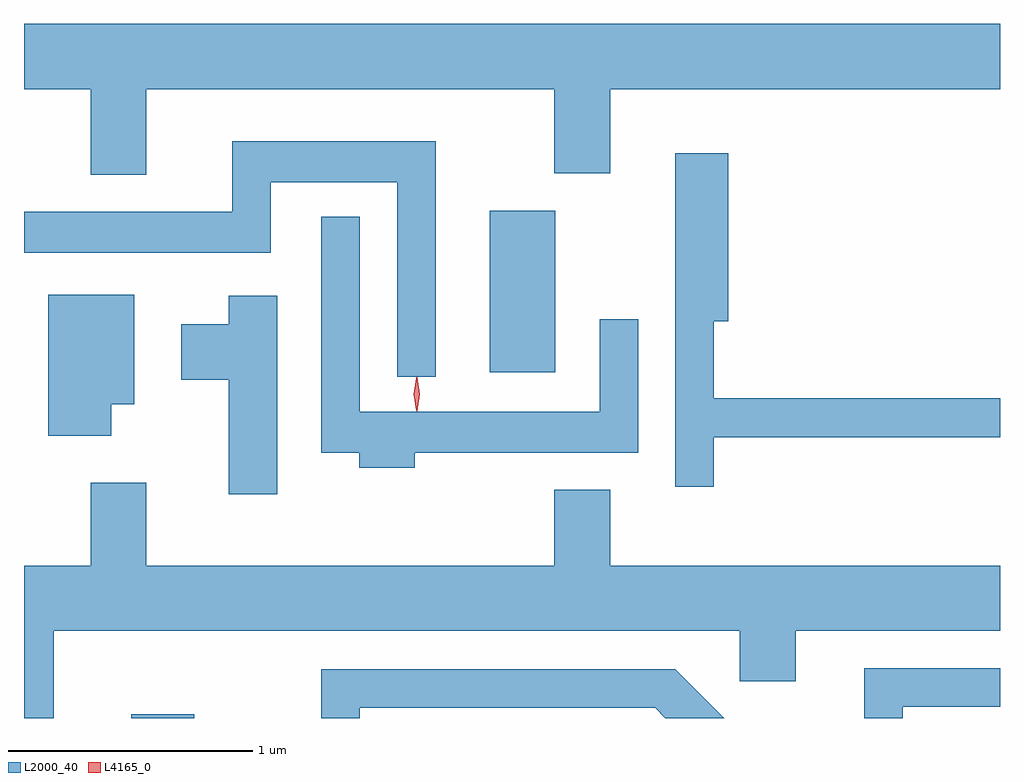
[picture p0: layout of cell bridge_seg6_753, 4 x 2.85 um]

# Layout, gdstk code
import gdstk
lib = gdstk.Library(unit=1e-6, precision=1e-09)
def R(c, l, rs):  # rectangles x0, y0, x1, y1
    for r in rs: c.add(gdstk.rectangle(r[:2], r[2:], *l))
def P(c, l, *ps):  # polygons
    for p in ps: c.add(gdstk.Polygon(p, *l))
L2000_40 = (2000, 40)
L4165_0 = (4165, 0)

bridge_seg6_753 = lib.new_cell('bridge_seg6_753')
R(bridge_seg6_753, L2000_40, [(450.956,1582.979,451.214,1582.994), (452.426,1584.396,452.694,1585.059)])
P(bridge_seg6_753, L2000_40, [(451.019,1585.556),(452.691,1585.556),(452.691,1585.211),(452.919,1585.211),(452.919,1585.556),(454.517,1585.556),(454.517,1585.824),(450.517,1585.824),(450.517,1585.556),(450.791,1585.556),(450.791,1585.206),(451.019,1585.206)],
  [(452.204,1585.344),(451.371,1585.344),(451.371,1585.054),(450.517,1585.054),(450.517,1584.886),(451.529,1584.886),(451.529,1585.176),(452.046,1585.176),(452.046,1584.378),(452.204,1584.378)],
  [(453.344,1584.131),(454.517,1584.131),(454.517,1584.289),(453.344,1584.289),(453.344,1584.606),(453.404,1584.606),(453.404,1585.294),(453.186,1585.294),(453.186,1583.928),(453.344,1583.928)],
  [(452.119,1584.066),(453.034,1584.066),(453.034,1584.613),(452.876,1584.613),(452.876,1584.234),(451.894,1584.234),(451.894,1585.033),(451.736,1585.033),(451.736,1584.066),(451.891,1584.066),(451.891,1584.006),(452.119,1584.006)],
  [(450.874,1584.266),(450.969,1584.266),(450.969,1584.714),(450.616,1584.714),(450.616,1584.136),(450.874,1584.136)],
  [(451.554,1584.709),(451.356,1584.709),(451.356,1584.594),(451.161,1584.594),(451.161,1584.366),(451.356,1584.366),(451.356,1583.896),(451.554,1583.896)],
  [(450.639,1583.336),(453.451,1583.336),(453.451,1583.131),(453.679,1583.131),(453.679,1583.336),(454.517,1583.336),(454.517,1583.604),(452.919,1583.604),(452.919,1583.914),(452.691,1583.914),(452.691,1583.604),(451.019,1583.604),(451.019,1583.944),(450.791,1583.944),(450.791,1583.604),(450.517,1583.604),(450.517,1582.979),(450.639,1582.979)],
  [(454.119,1583.026),(454.517,1583.026),(454.517,1583.184),(453.961,1583.184),(453.961,1582.979),(454.119,1582.979)],
  [(451.736,1583.179),(451.736,1582.979),(451.894,1582.979),(451.894,1583.021),(453.104,1583.021),(453.146,1582.979),(453.387,1582.979),(453.187,1583.179)])
P(bridge_seg6_753, L4165_0, [(452.127,1584.237),(452.118,1584.307),(452.127,1584.376),(452.128,1584.376),(452.128,1584.376),(452.138,1584.307),(452.128,1584.237),(452.128,1584.237)],
  [(452.125,1584.24),(452.125,1584.24),(452.115,1584.306),(452.125,1584.372),(452.125,1584.373),(452.126,1584.372),(452.135,1584.306),(452.126,1584.24)])

lib.write_gds('bridge_seg6_753.gds')
